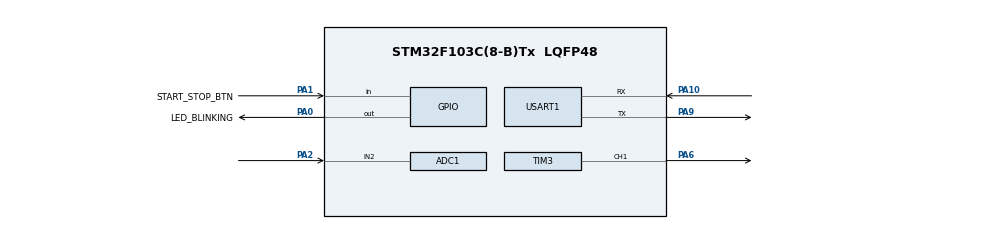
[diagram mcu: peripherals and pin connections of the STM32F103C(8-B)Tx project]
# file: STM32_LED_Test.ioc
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ADC1.Channel-0\#ChannelRegularConversion=ADC_CHANNEL_2
ADC1.NbrOfConversionFlag=1
ADC1.Rank-0\#ChannelRegularConversion=1
ADC1.SamplingTime-0\#ChannelRegularConversion=ADC_SAMPLETIME_1CYCLE_5
ADC1.master=1
Mcu.Family=STM32F1
Mcu.Name=STM32F103C(8-B)Tx
Mcu.Package=LQFP48
NVIC.PriorityGroup=NVIC_PRIORITYGROUP_4
PA0-WKUP.GPIO_Label=LED_BLINKING
PA0-WKUP.Signal=GPIO_Output
PA1.GPIO_Label=START_STOP_BTN
PA1.GPIO_PuPd=GPIO_PULLUP
PA1.Signal=GPIO_Input
PA10.Mode=Asynchronous
PA10.Signal=USART1_RX
PA2.Signal=ADCx_IN2
PA6.Signal=S_TIM3_CH1
PA9.Mode=Asynchronous
PA9.Signal=USART1_TX
ProjectManager.HeapSize=0x200
ProjectManager.StackSize=0x400
ProjectManager.TargetToolchain=STM32CubeIDE
RCC.APB1Freq_Value=8000000
RCC.APB2Freq_Value=8000000
SH.ADCx_IN2.0=ADC1_IN2,IN2
SH.S_TIM3_CH1.0=TIM3_CH1,PWM Generation1 CH1
TIM3.Channel-PWM\ Generation1\ CH1=TIM_CHANNEL_1
TIM3.Period=999
TIM3.Prescaler=7
TIM3.Pulse-PWM\ Generation1\ CH1=500
USART1.VirtualMode=VM_ASYNC
VP_SYS_VS_ND.Mode=No_Debug
board=custom

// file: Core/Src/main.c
/* USER CODE BEGIN Header */
/**
  ******************************************************************************
  * @file           : main.c
  * @brief          : STM32 Industrial Controller - M5 (GPIO, ADC, PWM, UART)
  * @note           : Target STM32F103C8T6, 8 MHz HSI, TIM3 CH1 PA6 1 kHz PWM.
  *                   Requires USART1 and its MSP GPIO/clock init generated by
  *                   STM32CubeMX from STM32_LED_Test.ioc (PA9 TX, PA10 RX).
  ******************************************************************************
  */
/* USER CODE END Header */

#include "main.h"

/* USER CODE BEGIN Includes */
#include <stdio.h>
/* USER CODE END Includes */

/* USER CODE BEGIN PTD */
typedef enum
{
    SYSTEM_IDLE = 0,
    SYSTEM_RUNNING
} SystemState_t;
/* USER CODE END PTD */

/* USER CODE BEGIN PD */
#define LED_PIN                 GPIO_PIN_0
#define LED_PORT                GPIOA
#define BUTTON_PIN              GPIO_PIN_1
#define BUTTON_PORT             GPIOA
#define DEBOUNCE_MS             40U
#define ADC_SAMPLE_PERIOD_MS    100U
#define BLINK_DEFAULT_MS        500U
#define BLINK_MIN_MS            150U
#define BLINK_RANGE_MS          850U
#define PWM_PERIOD_COUNTS       1000U
#define UART_SEND_PERIOD_MS     200U
/* USER CODE END PD */

ADC_HandleTypeDef hadc1;
TIM_HandleTypeDef htim3;
UART_HandleTypeDef huart1;

/* USER CODE BEGIN PV */
static SystemState_t system_state = SYSTEM_IDLE;
static GPIO_PinState button_last_raw = GPIO_PIN_SET;
static GPIO_PinState button_stable = GPIO_PIN_SET;
static uint32_t button_change_time = 0U;
static uint32_t led_toggle_time = 0U;
static uint32_t adc_sample_time = 0U;
static uint32_t blink_delay_ms = BLINK_DEFAULT_MS;
static uint32_t adc_raw = 0U;
static uint32_t adc_mV = 0U;
static uint32_t uart_last_ms = 0U;
static char uart_line[96];
/* USER CODE END PV */

void SystemClock_Config(void);
static void MX_GPIO_Init(void);
static void MX_ADC1_Init(void);
static void MX_TIM3_Init(void);
static void MX_USART1_UART_Init(void);

/**
  * @brief  Application entry point.
  * @retval int
  */
int main(void)
{

    HAL_Init();

    SystemClock_Config();

    MX_GPIO_Init();
    MX_ADC1_Init();
    MX_TIM3_Init();
    MX_USART1_UART_Init();

    /* USER CODE BEGIN 2 */
    HAL_GPIO_WritePin(LED_PORT, LED_PIN, GPIO_PIN_RESET);

    button_last_raw = HAL_GPIO_ReadPin(BUTTON_PORT, BUTTON_PIN);
    button_stable = button_last_raw;

    button_change_time = HAL_GetTick();
    led_toggle_time = button_change_time;
    adc_sample_time = button_change_time;
    uart_last_ms = button_change_time;

    if (HAL_ADCEx_Calibration_Start(&hadc1) != HAL_OK)
    {
        Error_Handler();
    }

    /* PWM starts safely with a 0% duty cycle. */
    __HAL_TIM_SET_COMPARE(&htim3, TIM_CHANNEL_1, 0U);
    if (HAL_TIM_PWM_Start(&htim3, TIM_CHANNEL_1) != HAL_OK)
    {
        Error_Handler();
    }
    /* USER CODE END 2 */

    /* Infinite loop */
    while (1)
    {
        /* USER CODE BEGIN 3 */
        uint32_t now = HAL_GetTick();

        /* ADC acquisition on PA2 every 100 ms. */
        if ((now - adc_sample_time) >= ADC_SAMPLE_PERIOD_MS)
        {
            adc_sample_time = now;
            if (HAL_ADC_Start(&hadc1) == HAL_OK)
            {
                if (HAL_ADC_PollForConversion(&hadc1, 10U) == HAL_OK)
                {
                    adc_raw = HAL_ADC_GetValue(&hadc1);
                    adc_mV = (adc_raw * 3300U) / 4095U;
                    blink_delay_ms = BLINK_MIN_MS
                        + ((4095U - adc_raw) * BLINK_RANGE_MS) / 4095U;
                }
                (void)HAL_ADC_Stop(&hadc1);
            }
        }

        /* PA1 active-low START/STOP button, debounced without delays. */
        GPIO_PinState button_raw = HAL_GPIO_ReadPin(BUTTON_PORT, BUTTON_PIN);
        if (button_raw != button_last_raw)
        {
            button_last_raw = button_raw;
            button_change_time = now;
        }
        if (((now - button_change_time) >= DEBOUNCE_MS)
                && (button_raw != button_stable))
        {
            button_stable = button_raw;
            if (button_stable == GPIO_PIN_RESET)
            {
                if (system_state == SYSTEM_IDLE)
                {
                    system_state = SYSTEM_RUNNING;
                    HAL_GPIO_WritePin(LED_PORT, LED_PIN, GPIO_PIN_SET);
                    led_toggle_time = now;
                }
                else
                {
                    system_state = SYSTEM_IDLE;
                    HAL_GPIO_WritePin(LED_PORT, LED_PIN, GPIO_PIN_RESET);
                }
            }
        }

        /* ADC-controlled 0..100% PWM on TIM3 CH1 / PA6; STOP forces 0%. */
        uint32_t pwm_pulse = 0U;
        if (system_state == SYSTEM_RUNNING)
        {
            pwm_pulse = (adc_raw * PWM_PERIOD_COUNTS) / 4095U;
        }
        __HAL_TIM_SET_COMPARE(&htim3, TIM_CHANNEL_1, pwm_pulse);

        /* Keep the M3 ADC-dependent, non-blocking LED blink. */
        if ((system_state == SYSTEM_RUNNING)
                && ((now - led_toggle_time) >= blink_delay_ms))
        {
            led_toggle_time = now;
            HAL_GPIO_TogglePin(LED_PORT, LED_PIN);
        }

        /* UART telemetry for Proteus terminal and MATLAB: 5 lines/second.
         * M5,time_ms,adc_raw,adc_mV,pwm_percent,state\r\n
         * state: 0 = IDLE, 1 = RUNNING.
         */
        if ((now - uart_last_ms) >= UART_SEND_PERIOD_MS)
        {
            uart_last_ms = now;
            uint32_t pwm_percent = (pwm_pulse * 100U) / PWM_PERIOD_COUNTS;

            int len = snprintf(
                uart_line, sizeof(uart_line),
                "M5,%lu,%lu,%lu,%lu,%u\r\n",
                (unsigned long)now,
                (unsigned long)adc_raw,
                (unsigned long)adc_mV,
                (unsigned long)pwm_percent,
                (unsigned int)(system_state == SYSTEM_RUNNING));

            if ((len > 0) && ((size_t)len < sizeof(uart_line)))
            {
                (void)HAL_UART_Transmit(
                    &huart1, (uint8_t *)uart_line, (uint16_t)len, 30U);
            }
        }
        /* USER CODE END 3 */
    }
}

void SystemClock_Config(void)
{
    RCC_OscInitTypeDef RCC_OscInitStruct = {0};
    RCC_ClkInitTypeDef RCC_ClkInitStruct = {0};
    RCC_PeriphCLKInitTypeDef PeriphClkInit = {0};

    RCC_OscInitStruct.OscillatorType = RCC_OSCILLATORTYPE_HSI;
    RCC_OscInitStruct.HSIState = RCC_HSI_ON;
    RCC_OscInitStruct.HSICalibrationValue = RCC_HSICALIBRATION_DEFAULT;
    RCC_OscInitStruct.PLL.PLLState = RCC_PLL_NONE;
    if (HAL_RCC_OscConfig(&RCC_OscInitStruct) != HAL_OK)
    {
        Error_Handler();
    }

    RCC_ClkInitStruct.ClockType = RCC_CLOCKTYPE_HCLK
        | RCC_CLOCKTYPE_SYSCLK | RCC_CLOCKTYPE_PCLK1 | RCC_CLOCKTYPE_PCLK2;
    RCC_ClkInitStruct.SYSCLKSource = RCC_SYSCLKSOURCE_HSI;
    RCC_ClkInitStruct.AHBCLKDivider = RCC_SYSCLK_DIV1;
    RCC_ClkInitStruct.APB1CLKDivider = RCC_HCLK_DIV1;
    RCC_ClkInitStruct.APB2CLKDivider = RCC_HCLK_DIV1;
    if (HAL_RCC_ClockConfig(&RCC_ClkInitStruct, FLASH_LATENCY_0) != HAL_OK)
    {
        Error_Handler();
    }

    PeriphClkInit.PeriphClockSelection = RCC_PERIPHCLK_ADC;
    PeriphClkInit.AdcClockSelection = RCC_ADCPCLK2_DIV2;
    if (HAL_RCCEx_PeriphCLKConfig(&PeriphClkInit) != HAL_OK)
    {
        Error_Handler();
    }
}

static void MX_ADC1_Init(void)
{
    ADC_ChannelConfTypeDef sConfig = {0};

    hadc1.Instance = ADC1;
    hadc1.Init.ScanConvMode = ADC_SCAN_DISABLE;
    hadc1.Init.ContinuousConvMode = DISABLE;
    hadc1.Init.DiscontinuousConvMode = DISABLE;
    hadc1.Init.ExternalTrigConv = ADC_SOFTWARE_START;
    hadc1.Init.DataAlign = ADC_DATAALIGN_RIGHT;
    hadc1.Init.NbrOfConversion = 1;
    if (HAL_ADC_Init(&hadc1) != HAL_OK)
    {
        Error_Handler();
    }

    sConfig.Channel = ADC_CHANNEL_2;
    sConfig.Rank = ADC_REGULAR_RANK_1;
    sConfig.SamplingTime = ADC_SAMPLETIME_71CYCLES_5;
    if (HAL_ADC_ConfigChannel(&hadc1, &sConfig) != HAL_OK)
    {
        Error_Handler();
    }
}

static void MX_TIM3_Init(void)
{
    TIM_MasterConfigTypeDef sMasterConfig = {0};
    TIM_OC_InitTypeDef sConfigOC = {0};

    htim3.Instance = TIM3;
    htim3.Init.Prescaler = 7;
    htim3.Init.CounterMode = TIM_COUNTERMODE_UP;
    htim3.Init.Period = 999;
    htim3.Init.ClockDivision = TIM_CLOCKDIVISION_DIV1;
    htim3.Init.AutoReloadPreload = TIM_AUTORELOAD_PRELOAD_DISABLE;
    if (HAL_TIM_PWM_Init(&htim3) != HAL_OK)
    {
        Error_Handler();
    }

    sMasterConfig.MasterOutputTrigger = TIM_TRGO_RESET;
    sMasterConfig.MasterSlaveMode = TIM_MASTERSLAVEMODE_DISABLE;
    if (HAL_TIMEx_MasterConfigSynchronization(&htim3, &sMasterConfig) != HAL_OK)
    {
        Error_Handler();
    }

    sConfigOC.OCMode = TIM_OCMODE_PWM1;
    sConfigOC.Pulse = 0;
    sConfigOC.OCPolarity = TIM_OCPOLARITY_HIGH;
    sConfigOC.OCFastMode = TIM_OCFAST_DISABLE;
    if (HAL_TIM_PWM_ConfigChannel(&htim3, &sConfigOC, TIM_CHANNEL_1) != HAL_OK)
    {
        Error_Handler();
    }
    HAL_TIM_MspPostInit(&htim3);
}

static void MX_USART1_UART_Init(void)
{

    huart1.Instance = USART1;
    huart1.Init.BaudRate = 115200;
    huart1.Init.WordLength = UART_WORDLENGTH_8B;
    huart1.Init.StopBits = UART_STOPBITS_1;
    huart1.Init.Parity = UART_PARITY_NONE;
    huart1.Init.Mode = UART_MODE_TX_RX;
    huart1.Init.HwFlowCtl = UART_HWCONTROL_NONE;
    huart1.Init.OverSampling = UART_OVERSAMPLING_16;
    if (HAL_UART_Init(&huart1) != HAL_OK)
    {
        Error_Handler();
    }
}

static void MX_GPIO_Init(void)
{
    GPIO_InitTypeDef GPIO_InitStruct = {0};

    __HAL_RCC_GPIOA_CLK_ENABLE();
    HAL_GPIO_WritePin(LED_BLINKING_GPIO_Port,
                      LED_BLINKING_Pin, GPIO_PIN_RESET);

    GPIO_InitStruct.Pin = LED_BLINKING_Pin;
    GPIO_InitStruct.Mode = GPIO_MODE_OUTPUT_PP;
    GPIO_InitStruct.Pull = GPIO_NOPULL;
    GPIO_InitStruct.Speed = GPIO_SPEED_FREQ_LOW;
    HAL_GPIO_Init(LED_BLINKING_GPIO_Port, &GPIO_InitStruct);

    GPIO_InitStruct.Pin = START_STOP_BTN_Pin;
    GPIO_InitStruct.Mode = GPIO_MODE_INPUT;
    GPIO_InitStruct.Pull = GPIO_PULLUP;
    HAL_GPIO_Init(START_STOP_BTN_GPIO_Port, &GPIO_InitStruct);

    /* PA2 ADC, PA6 PWM, PA9/PA10 UART: configured by HAL MSP init. */
}

void Error_Handler(void)
{
    __disable_irq();
    while (1)
    {
    }
}

#ifdef USE_FULL_ASSERT
void assert_failed(uint8_t *file, uint32_t line)
{
    /* USER CODE BEGIN 6 */
    (void)file;
    (void)line;
    /* USER CODE END 6 */
}
#endif /* USE_FULL_ASSERT */
